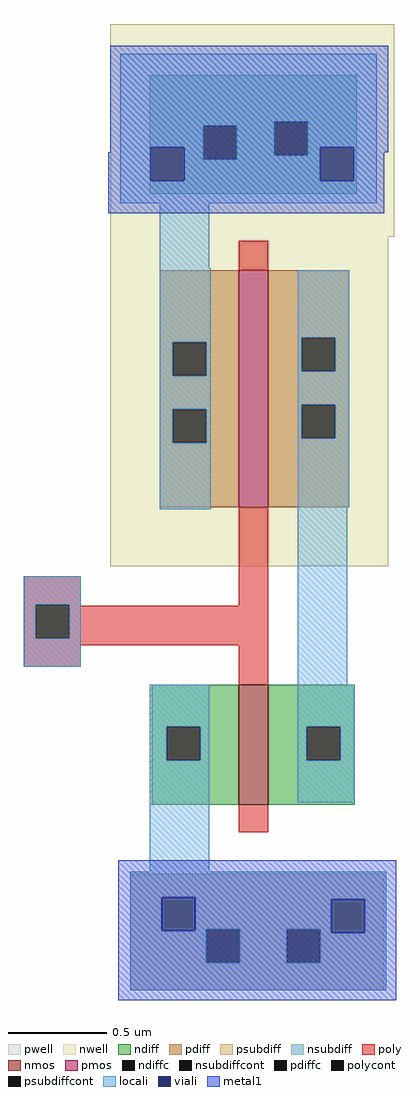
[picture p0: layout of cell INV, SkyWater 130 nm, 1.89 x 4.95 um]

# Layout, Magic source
magic
tech sky130A
magscale 1 2
<< nwell >>
rect 0 334 288 550
rect 0 0 282 334
<< pwell >>
rect 20 -430 278 -312
<< nmos >>
rect 130 -242 160 -120
<< pmos >>
rect 130 60 160 300
<< ndiff >>
rect 42 -163 130 -120
rect 42 -197 57 -163
rect 91 -197 130 -163
rect 42 -242 130 -197
rect 160 -163 248 -120
rect 160 -197 199 -163
rect 233 -197 248 -163
rect 160 -242 248 -197
<< pdiff >>
rect 50 227 130 300
rect 50 193 63 227
rect 97 193 130 227
rect 50 159 130 193
rect 50 125 63 159
rect 97 125 130 159
rect 50 60 130 125
rect 160 232 242 300
rect 160 198 194 232
rect 228 198 242 232
rect 160 164 242 198
rect 160 130 194 164
rect 228 130 242 164
rect 160 60 242 130
<< ndiffc >>
rect 57 -197 91 -163
rect 199 -197 233 -163
<< pdiffc >>
rect 63 193 97 227
rect 63 125 97 159
rect 194 198 228 232
rect 194 130 228 164
<< psubdiff >>
rect 20 -368 278 -312
rect 20 -402 97 -368
rect 131 -402 179 -368
rect 213 -402 278 -368
rect 20 -430 278 -402
<< nsubdiff >>
rect 40 451 250 498
rect 40 447 166 451
rect 40 413 94 447
rect 128 417 166 447
rect 200 417 250 451
rect 128 413 250 417
rect 40 378 250 413
<< psubdiffcont >>
rect 97 -402 131 -368
rect 179 -402 213 -368
<< nsubdiffcont >>
rect 94 413 128 447
rect 166 417 200 451
<< poly >>
rect 130 300 160 330
rect -88 -39 -30 -10
rect -88 -73 -76 -39
rect -42 -40 -30 -39
rect 130 -40 160 60
rect -42 -73 160 -40
rect -88 -80 160 -73
rect -88 -102 -30 -80
rect 130 -120 160 -80
rect 130 -270 160 -242
<< polycont >>
rect -76 -73 -42 -39
<< locali >>
rect 10 451 270 520
rect 10 447 166 451
rect 10 425 94 447
rect 10 391 41 425
rect 75 413 94 425
rect 128 417 166 447
rect 200 425 270 451
rect 200 417 213 425
rect 128 413 213 417
rect 75 391 213 413
rect 247 391 270 425
rect 10 368 270 391
rect 50 302 100 368
rect 50 227 102 302
rect 50 193 63 227
rect 97 193 102 227
rect 50 159 102 193
rect 50 125 63 159
rect 97 125 102 159
rect 50 58 102 125
rect 190 232 242 300
rect 190 198 194 232
rect 228 198 242 232
rect 190 164 242 198
rect 190 130 194 164
rect 228 130 242 164
rect 190 60 242 130
rect -88 -39 -30 -10
rect -88 -73 -76 -39
rect -42 -73 -30 -39
rect -88 -102 -30 -73
rect 190 -120 240 60
rect 40 -163 100 -120
rect 40 -197 57 -163
rect 91 -197 100 -163
rect 40 -310 100 -197
rect 190 -163 248 -120
rect 190 -197 199 -163
rect 233 -197 248 -163
rect 190 -240 248 -197
rect 20 -336 280 -310
rect 20 -370 52 -336
rect 86 -338 280 -336
rect 86 -368 224 -338
rect 86 -370 97 -368
rect 20 -402 97 -370
rect 131 -402 179 -368
rect 213 -372 224 -368
rect 258 -372 280 -338
rect 213 -402 280 -372
rect 20 -430 280 -402
<< viali >>
rect 41 391 75 425
rect 213 391 247 425
rect 52 -370 86 -336
rect 224 -372 258 -338
<< metal1 >>
rect 0 425 282 528
rect 0 420 41 425
rect -2 391 41 420
rect 75 391 213 425
rect 247 420 282 425
rect 247 391 278 420
rect -2 358 278 391
rect 8 -336 290 -298
rect 8 -370 52 -336
rect 86 -338 290 -336
rect 86 -370 224 -338
rect 8 -372 224 -370
rect 258 -372 290 -338
rect 8 -440 290 -372
<< end >>
